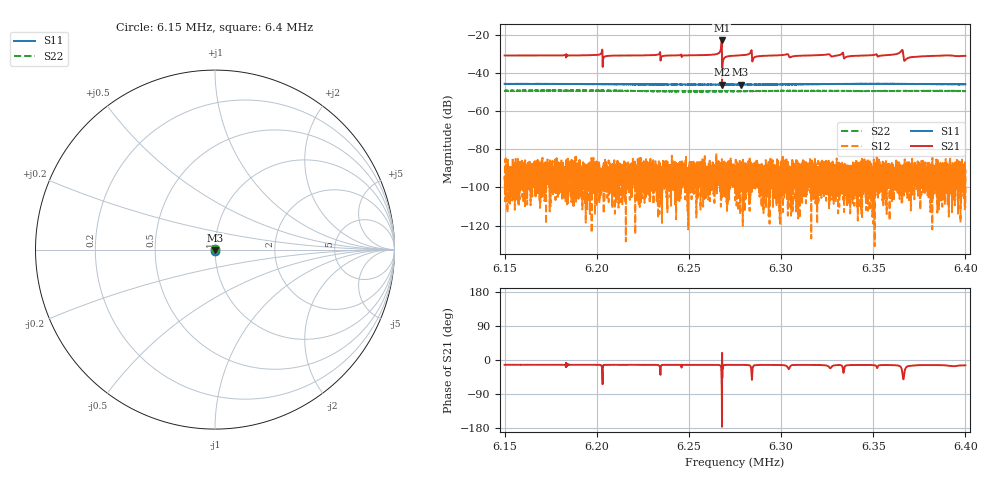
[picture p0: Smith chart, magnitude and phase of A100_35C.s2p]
!CETC41,AV3656A,ZGL00048,1.3.2
!Calibration ON (Full Solt 2-Port(Omit Isolation))
!Measurements: S11 S21 S12 S22
!2025-04-22 21:37
# Hz  S  dB  R 50.000
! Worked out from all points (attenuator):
!   6401 points, 6.15 MHz to 6.4 MHz, reference 50 ohm
!   highest |S21| = -22.89 dB at 6.2678 MHz (marker M1); lowest = -46.1 dB at 6.268 MHz (marker M2)
!   lowest |S11| = -46.1 dB at 6.278 MHz (marker M3), VSWR 1.01, Z = 50 - j0.492 ohm
!   |S11| at or under -10 dB: start of sweep to end of sweep
!   |S22| runs from -49.7 to -49.1 dB; largest |S21 - S12| = 0.072
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6150000  -45.69 -93.6  -30.79 -12.7  -95.60 -31.4  -49.29 104.6
6191680  -45.79 -94.2  -30.68 -12.7  -97.42 -79.5  -49.22 106.0
6201875  -45.82 -94.5  -30.11 -13.1  -90.71 -72.4  -49.25 106.5
6204414  -45.85 -94.6  -31.29 -12.9  -92.48 34.4  -49.24 106.4
6233359  -45.97 -94.6  -30.25 -13.3  -104.28 78.3  -49.52 105.8
6261719  -46.00 -93.6  -30.41 -12.9  -90.62 179.1  -49.56 105.0
6266680  -46.02 -93.5  -29.10 -13.6  -96.29 92.5  -49.60 105.0
6267773  -46.07 -93.9  -22.89 -62.6  -97.18 -163.2  -49.54 105.4
6268008  -46.08 -93.5  -46.14 18.7  -96.03 -35.5  -49.54 105.2
6269219  -46.07 -93.7  -32.06 -13.5  -96.61 155.1  -49.56 105.1
6270508  -46.05 -93.6  -31.36 -13.0  -97.96 28.9  -49.43 104.8
6275000  -46.04 -93.2  -30.85 -13.0  -87.41 22.3  -49.46 105.0
6278008  -46.14 -93.8  -30.69 -12.9  -92.64 -10.9  -49.46 104.6
6282891  -45.98 -93.2  -29.77 -14.1  -107.29 -130.8  -49.41 105.4
6285469  -46.07 -93.2  -31.80 -14.2  -89.59 -152.2  -49.33 105.1
6302656  -45.95 -93.1  -30.25 -15.0  -97.98 144.6  -49.37 104.9
6305508  -45.93 -93.1  -31.50 -14.2  -92.47 160.3  -49.31 104.7
6316680  -45.83 -93.3  -30.73 -13.0  -101.36 -111.5  -49.38 104.8
6358359  -45.69 -93.6  -30.52 -13.3  -90.19 -79.0  -49.30 106.1
6365039  -45.72 -93.9  -28.65 -19.2  -92.22 146.6  -49.37 106.3
6367773  -45.69 -94.1  -32.79 -19.8  -91.53 81.1  -49.31 106.1
6400000  -45.89 -93.5  -30.94 -14.0  -110.56 154.3  -49.47 107.1
